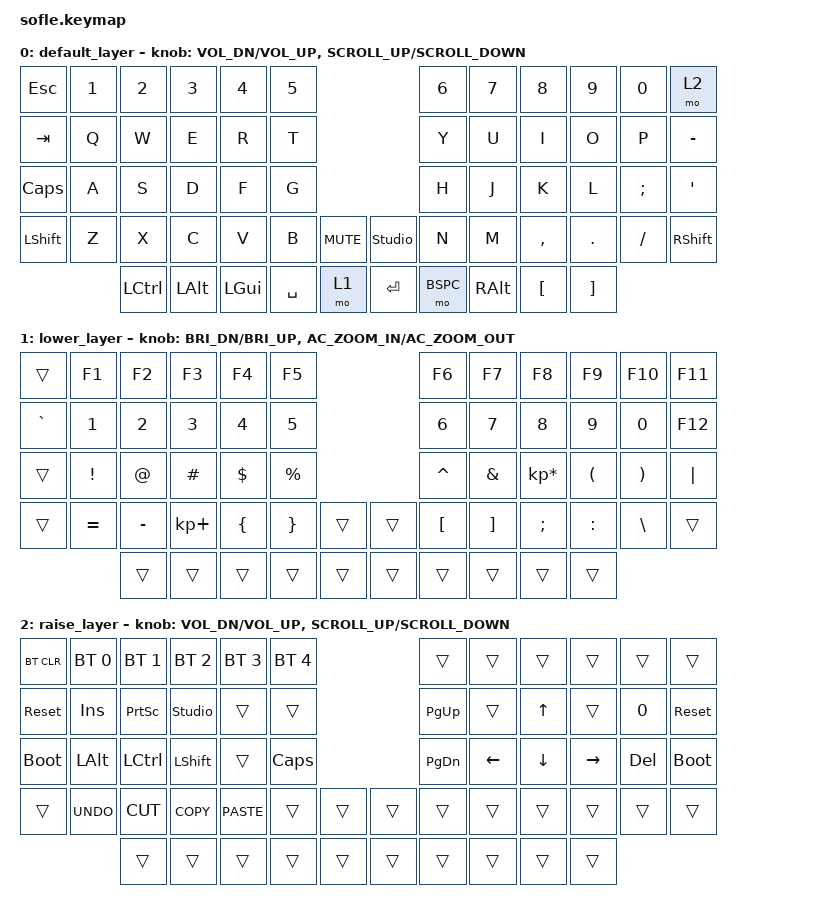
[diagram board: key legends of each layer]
/*
 * Copyright (c) 2020 The ZMK Contributors
 *
 * SPDX-License-Identifier: MIT
 */

#include <behaviors.dtsi>
#include <dt-bindings/zmk/keys.h>
#include <dt-bindings/zmk/bt.h>
#include <dt-bindings/zmk/ext_power.h>
#include <dt-bindings/zmk/outputs.h>

/ {
    keymap {
        compatible = "zmk,keymap";

        default_layer {
// ------------------------------------------------------------------------------------------------------------
// |  `    |  1  |  2  |  3   |  4   |  5   |                         |  6   |  7    |  8    |  9   |   0   |       |
// |  ESC  |  Q  |  W  |  E   |  R   |  T   |                         |  Y   |  U    |  I    |  O   |   P   | BKSPC |
// |  TAB  |  A  |  S  |  D   |  F   |  G   |                         |  H   |  J    |  K    |  L   |   ;   |   '   |
// | SHIFT |  Z  |  X  |  C   |  V   |  B   |  MUTE  |        | ExtPw |  N   |  M    |  ,    |  .   |   /   | SHIFT |
//               | GUI | ALT  | CTRL | LOWER|  ENTER |        | SPACE | RAISE| CTRL  | ALT   | GUI  |
            bindings = <
&kp ESC   &kp N1 &kp N2   &kp N3   &kp N4    &kp N5                             &kp N6 &kp N7    &kp N8    &kp N9   &kp N0   &mo 2
&kp TAB   &kp Q  &kp W    &kp E    &kp R     &kp T                              &kp Y  &kp U     &kp I     &kp O    &kp P    &kp MINUS
&kp CLCK  &kp A  &kp S    &kp D    &kp F     &kp G                              &kp H  &kp J     &kp K     &kp L    &kp SEMI &kp SQT
&kp LSHFT &kp Z  &kp X    &kp C    &kp V     &kp B      &kp C_MUTE &studio_unlock &kp N  &kp M     &kp COMMA &kp DOT  &kp FSLH &kp RSHFT
                 &kp LCTRL &kp LALT &kp LGUI &kp SPACE  &mo 1    &kp RET  &mo BSPC  &kp RALT &kp LBKT  &kp RBKT
            >;

            sensor-bindings = <&inc_dec_kp C_VOL_DN C_VOL_UP &inc_dec_kp K_SCROLL_UP K_SCROLL_DOWN>;
        };

        lower_layer {
// TODO: Some binds are waiting for shifted keycode support.
// ------------------------------------------------------------------------------------------------------------
// |       |  F1 |  F2 |  F3  |  F4  |  F5  |                   |  F6  |  F7   |  F8   |  F9  |  F10  |  F11  |
// | `     |   1 |   2 |   3  |   4  |   5  |                   |   6  |   7   |   8   |   9  |    0  |  F12  |
// |       |  !  |  @  |  #   |  $   |  %   |                   |  ^   |  &    |  *    |  (   |   )   |   |   |
// |       |  =  |  -  |  +   |  {   |  }   |        |  |       |  [   |  ]    |  ;    |  :   |   \   |       |
//               |     |      |      |      |        |  |       |      |       |       |      |
            bindings = <
&trans    &kp F1    &kp F2    &kp F3      &kp F4    &kp F5                    &kp F6    &kp F7   &kp F8          &kp F9    &kp F10   &kp F11
&kp GRAVE &kp N1    &kp N2    &kp N3      &kp N4    &kp N5                    &kp N6    &kp N7   &kp N8          &kp N9    &kp N0    &kp F12
&trans    &kp EXCL  &kp AT    &kp HASH    &kp DLLR  &kp PRCNT                 &kp CARET &kp AMPS &kp KP_MULTIPLY &kp LPAR  &kp RPAR  &kp PIPE
&trans    &kp EQUAL &kp MINUS &kp KP_PLUS &kp LBRC  &kp RBRC  &trans   &trans &kp LBKT  &kp RBKT &kp SEMI        &kp COLON &kp BSLH  &trans
                    &trans    &trans      &trans    &trans    &trans   &trans &trans    &trans   &trans          &trans
            >;

            sensor-bindings = <&inc_dec_kp C_BRI_DN C_BRI_UP &inc_dec_kp C_AC_ZOOM_IN C_AC_ZOOM_OUT>;
        };

        raise_layer {
// ------------------------------------------------------------------------------------------------------------
// |BTCLR| BT1  | BT2  |  BT3  |  BT4  |  BT5 |                |      |      |       |      |       |       |
// |     | INS  | PSCR | GUI   |       |      |                | PGUP |      |   ^   |      |       |       |
// |     | ALT  | CTRL | SHIFT |       | CAPS |                | PGDN |   <- |   v   |  ->  |  DEL  | BKSPC |
// |     | UNDO | CUT  | COPY  | PASTE |      |      |  |      |      |      |       |      |       |       |
//              |      |       |       |      |      |  |      |      |      |       |      |
            bindings = <
&bt BT_CLR &bt BT_SEL 0 &bt BT_SEL 1 &bt BT_SEL 2 &bt BT_SEL 3 &bt BT_SEL 4             &trans    &trans    &trans   &trans    &trans  &trans
&sys_reset     &kp INS      &kp PSCRN    &studio_unlock  &trans       &trans            &kp PG_UP &trans    &kp UP   &trans    &kp N0  &sys_reset
&bootloader     &kp LALT     &kp LCTRL    &kp LSHFT    &trans       &kp CLCK            &kp PG_DN &kp LEFT  &kp DOWN &kp RIGHT &kp DEL &bootloader
&trans     &kp K_UNDO   &kp K_CUT    &kp K_COPY   &kp K_PASTE  &trans  &trans   &trans  &trans    &trans    &trans   &trans    &trans  &trans
                        &trans       &trans       &trans       &trans  &trans   &trans  &trans    &trans    &trans   &trans
            >;

            sensor-bindings = <&inc_dec_kp C_VOL_DN C_VOL_UP &inc_dec_kp K_SCROLL_UP K_SCROLL_DOWN>;
        };
    };
};
